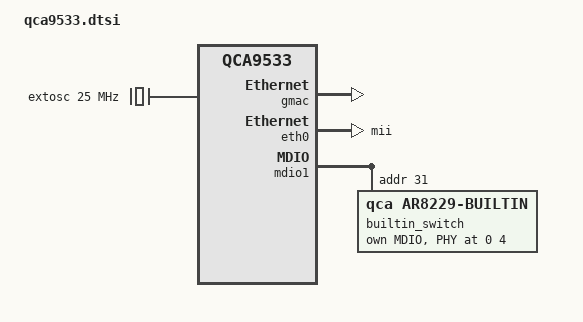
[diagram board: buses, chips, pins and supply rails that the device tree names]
// SPDX-License-Identifier: GPL-2.0-or-later OR MIT
#include <dt-bindings/clock/ath79-clk.h>
#include "ath79.dtsi"

/ {
	compatible = "qca,qca9533";

	#address-cells = <1>;
	#size-cells = <1>;

	chosen {
		bootargs = "console=ttyS0,115200n8";
	};

	cpus {
		#address-cells = <1>;
		#size-cells = <0>;

		cpu@0 {
			device_type = "cpu";
			compatible = "mips,mips24Kc";
			clocks = <&pll ATH79_CLK_CPU>;
			reg = <0>;
		};
	};

	extosc: ref {
		compatible = "fixed-clock";
		#clock-cells = <0>;
		clock-output-names = "ref";
		clock-frequency = <25000000>;
	};

	ahb {
		apb {
			ddr_ctrl: memory-controller@18000000 {
				compatible = "qca,ar9530-ddr-controller",
						"qca,ar7240-ddr-controller";
				reg = <0x18000000 0x128>;

				#qca,ddr-wb-channel-cells = <1>;
			};

			uart: uart@18020000 {
				compatible = "ns16550a";
				reg = <0x18020000 0x20>;

				interrupts = <3>;

				clocks = <&pll ATH79_CLK_REF>;
				clock-names = "uart";

				reg-io-width = <4>;
				reg-shift = <2>;
				no-loopback-test;

				status = "disabled";
			};

			usb_phy: usb-phy@18030000 {
				compatible = "qca,ar7200-usb-phy";
				reg = <0x18030000 0x100>;
				#phy-cells = <0>;

				reset-names = "usb-phy", "usb-suspend-override";
				resets = <&rst 4>, <&rst 3>;

				status = "disabled";
			};

			gpio: gpio@18040000 {
				compatible = "qca,ar9530-gpio",
						"qca,ar9340-gpio";
				reg = <0x18040000 0x28>;

				interrupts = <2>;
				ngpios = <20>;

				gpio-controller;
				#gpio-cells = <2>;

				interrupt-controller;
				#interrupt-cells = <2>;
			};

			pinmux: pinmux@1804002c {
				compatible = "pinctrl-single";

				reg = <0x1804002c 0x48>;

				#size-cells = <0>;

				pinctrl-single,bit-per-mux;
				pinctrl-single,register-width = <32>;
				pinctrl-single,function-mask = <0x1>;
				#pinctrl-cells = <2>;

				jtag_disable_pins: pinmux_jtag_disable_pins {
					pinctrl-single,bits = <0x40 0x2 0x2>;
				};
			};

			pll: pll-controller@18050000 {
				compatible = "qca,qca9530-pll", "syscon";
				reg = <0x18050000 0x48>;

				#clock-cells = <1>;
				clock-output-names = "cpu", "ddr", "ahb";
				clocks = <&extosc>;
			};

			wdt: wdt@18060008 {
				compatible = "qca,qca9530-wdt", "qca,ar7130-wdt";
				reg = <0x18060008 0x8>;

				interrupts = <4>;

				clocks = <&pll ATH79_CLK_AHB>;
				clock-names = "wdt";
			};

			rst: reset-controller@1806001c {
				compatible = "qca,qca9530-reset",
						"qca,ar7100-reset";
				reg = <0x1806001c 0xac>;

				#reset-cells = <1>;

				intc2: interrupt-controller {
					compatible = "qca,ar9340-intc";

					interrupt-parent = <&cpuintc>;
					interrupts = <2>;

					interrupt-controller;
					#interrupt-cells = <1>;

					qca,int-status-addr = <0xac>;
					qca,pending-bits = <0xf>,       /* wmac */
							<0x1f0>;        /* pcie rc1 */

					qca,ddr-wb-channel-interrupts = <0>, <1>;
					qca,ddr-wb-channels = <&ddr_ctrl 4>, <&ddr_ctrl 3>;
				};
			};

			pcie0: pcie-controller@180c0000 {
				compatible = "qcom,ar7240-pci";
				#address-cells = <3>;
				#size-cells = <2>;
				bus-range = <0x0 0x0>;
				reg = <0x180c0000 0x1000>, /* CRP */
				      <0x180f0000 0x100>,  /* CTRL */
				      <0x14000000 0x1000>; /* CFG */
				reg-names = "crp_base", "ctrl_base", "cfg_base";
				ranges = <0x2000000 0 0x10000000 0x10000000 0 0x04000000	/* pci memory */
					  0x1000000 0 0x00000000 0x0000000 0 0x000001>;		/* io space */
				interrupt-parent = <&intc2>;
				interrupts = <1>;

				interrupt-controller;
				#interrupt-cells = <1>;

				interrupt-map-mask = <0 0 0 1>;
				interrupt-map = <0 0 0 0 &pcie0 0>;
				status = "disabled";
			};

			gmac: gmac@18070000 {
				compatible = "qca,ar9330-gmac";
				reg = <0x18070000 0x4>;
			};

			wmac: wmac@18100000 {
				compatible = "qca,qca9530-wmac";
				reg = <0x18100000 0x230000>;

				interrupt-parent = <&intc2>;
				interrupts = <0>;

				status = "disabled";
			};
		};

		usb0: usb@1b000000 {
			compatible = "generic-ehci";
			reg = <0x1b000000 0x1000>;

			interrupts = <3>;
			resets = <&rst 5>;
			reset-names = "usb-host";
			dr_mode = "host";

			has-transaction-translator;
			caps-offset = <0x100>;

			phy-names = "usb-phy";
			phys = <&usb_phy>;

			status = "disabled";
		};

		spi: spi@1f000000 {
			compatible = "qca,ar9530-spi", "qca,ar7100-spi";
			reg = <0x1f000000 0x10>;

			clocks = <&pll ATH79_CLK_AHB>;
			clock-names = "ahb";

			status = "disabled";

			#address-cells = <1>;
			#size-cells = <0>;
		};

	};

};

&cpuintc {
	qca,ddr-wb-channel-interrupts = <3>, <4>, <5>;
	qca,ddr-wb-channels = <&ddr_ctrl 2>, <&ddr_ctrl 0>,
						<&ddr_ctrl 1>;
};

&eth0 {
	compatible = "qca,qca9530-eth", "syscon";
	pll-data = <0x82000101 0x80000101 0x80001313>;
	reg = <0x19000000 0x200
		0x18070000 0x4>;
	pll-reg = <0x4 0x2c 17>;
	pll-handle = <&pll>;

	reset-names = "mac";
	resets = <&rst 9>;

	phy-mode = "mii";
};


&mdio1 {
	status = "okay";
	resets = <&rst 23>;
	reset-names = "mdio";
	builtin-switch;

	builtin_switch: switch0@1f {
		compatible = "qca,ar8229-builtin";

		reg = <0x1f>;
		resets = <&rst 8>;
		reset-names = "switch";
		phy-mode = "gmii";
		phy4-mii-enable;

		mdio-bus {
			#address-cells = <1>;
			#size-cells = <0>;

			swphy0: ethernet-phy@0 {
				reg = <0>;
				phy-mode = "mii";
			};

			swphy4: ethernet-phy@4 {
				reg = <4>;
				phy-mode = "mii";
			};
		};
	};
};

&eth1 {
	status = "okay";

	compatible = "qca,qca9530-eth", "syscon", "simple-mfd";
	resets = <&rst 13>;
	reset-names = "mac";

	phy-mode = "gmii";

	fixed-link {
		speed = <1000>;
		full-duplex;
	};
};
